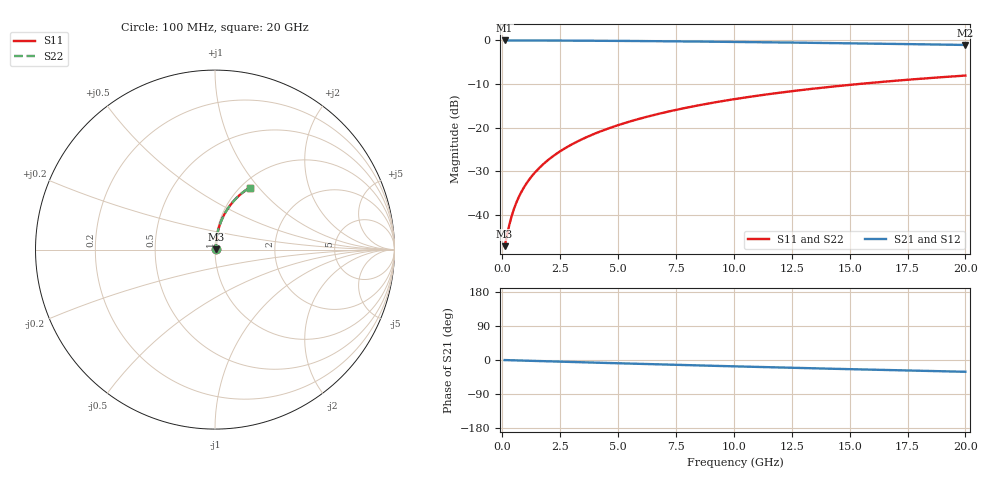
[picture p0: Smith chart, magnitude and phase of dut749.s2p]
! Touchstone file exported from HFSS 2024.1.0
!  File:  C:/UserFiles/LocalFiles/RDL_TSV_Batchsim/temp_RDL_bottom_749_1779859683.aedt
!  Generated:  01:30:26 PM May 27, 2026
!  Design:  RDL_bottom
!  Project:  temp_RDL_bottom_749_1779859683
!  Setup:  Setup1
!  Solution:  Sweep
! Variables:
!  dtsv = 10.80580581um
!  hbump = 3um
!  htsv = 89.63um
!  ldown = 331.86um
!  lrdl = 100um
!  p = 40
!  p1 = 56.65um
!  rhole = 1um
!  t = 450um
!  tdown = 2.66um
!  trdl = 3.915915916um
!  wdown = 12.09um
!  wrdl = 20um
# GHz S MA R 50.000000
! Terminal data exported
! Port[1] = RDL1_T1
! Port[2] = RDL1_T2
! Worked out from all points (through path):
!   200 points, 100 MHz to 20 GHz, reference 50 ohm
!   highest |S21| = -0.03 dB at 100 MHz (marker M1); lowest = -1.1 dB at 20 GHz (marker M2)
!   group delay of S21, straight-line fit = 4.32 ps
!   lowest |S11| = -47.1 dB at 100 MHz (marker M3), VSWR 1.01, Z = 50.4 + j0.222 ohm
!   |S11| at or under -10 dB: start of sweep to 15.4 GHz
!   |S22| runs from -47.1 to -8.1 dB; largest |S21 - S12| = 3.7e-15
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0.1  0.004404 30.0  0.9962 -0.2  0.9962 -0.2  0.004404 30.0
! Gamma 0 0 0 0
! Port Impedance 50 0 50 0
0.3  0.007668 59.3  0.9961 -0.5  0.9961 -0.5  0.007668 59.3
0.4  0.009637 65.5  0.996 -0.7  0.996 -0.7  0.009637 65.5
0.5  0.01167 69.4  0.9959 -0.9  0.9959 -0.9  0.01167 69.4
0.6  0.01374 72.1  0.9958 -1.1  0.9958 -1.1  0.01374 72.1
0.8  0.01791 75.6  0.9956 -1.4  0.9956 -1.4  0.01791 75.6
1.1  0.02419 78.4  0.9952 -1.9  0.9952 -1.9  0.02419 78.4
1.5  0.03259 80.3  0.9947 -2.6  0.9947 -2.6  0.03259 80.3
1.8  0.03891 81.1  0.9942 -3.2  0.9942 -3.2  0.03891 81.1
2.1  0.04524 81.6  0.9936 -3.7  0.9936 -3.7  0.04524 81.6
2.7  0.05795 82.0  0.9923 -4.7  0.9923 -4.7  0.05795 82.0
3.5  0.07494 81.9  0.9902 -6.1  0.9902 -6.1  0.07494 81.9
4.2  0.08983 81.5  0.988 -7.3  0.988 -7.3  0.08983 81.5
5  0.1069 80.8  0.985 -8.6  0.985 -8.6  0.1069 80.8
5.9  0.126 79.9  0.9812 -10.1  0.9812 -10.1  0.126 79.9
6.8  0.1451 78.8  0.977 -11.6  0.977 -11.6  0.1451 78.8
8.3  0.1766 76.9  0.969 -14.0  0.969 -14.0  0.1766 76.9
10.1  0.2137 74.4  0.9582 -16.9  0.9582 -16.9  0.2137 74.4
11.7  0.2458 72.2  0.9478 -19.3  0.9478 -19.3  0.2458 72.2
13.4  0.2789 69.8  0.9359 -21.9  0.9359 -21.9  0.2789 69.8
16.7  0.3396 65.2  0.9113 -26.6  0.9113 -26.6  0.3396 65.2
20  0.395 60.8  0.8851 -31.1  0.8851 -31.1  0.395 60.8
